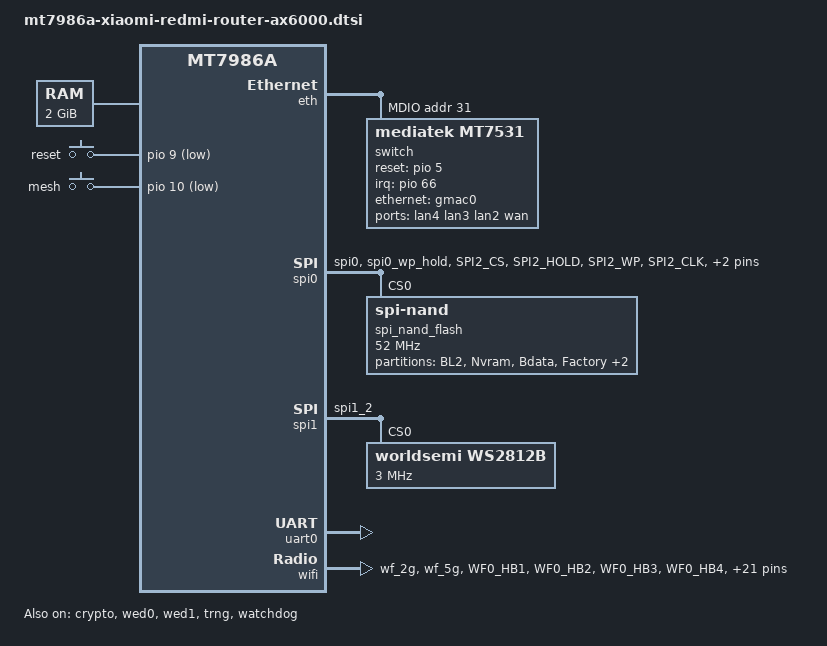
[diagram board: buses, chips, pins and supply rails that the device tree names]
// SPDX-License-Identifier: (GPL-2.0 OR MIT)

/dts-v1/;
#include <dt-bindings/input/input.h>
#include <dt-bindings/gpio/gpio.h>
#include <dt-bindings/leds/common.h>

#include "mt7986a.dtsi"

/ {
    aliases {
        serial0 = &uart0;
        led-boot = &led_status_rgb;
        led-failsafe = &led_status_rgb;
        led-running = &led_status_rgb;
        led-upgrade = &led_status_rgb;
    };

    chosen: chosen {
        stdout-path = "serial0:115200n8";
    };

    /* * [重型装甲 1]：2GB 三星 DDR4 物理寻址 
     * 0x80000000 即 2048MB
     */
    memory {
        reg = <0 0x40000000 0 0x80000000>;
    };

    /* * [重型装甲 2]：WED / Direct Data Path 专用影子内存 
     * 物理隔离 128MB 确保无线中继在高压下不丢包
     */
    reserved-memory {
        #address-cells = <2>;
        #size-cells = <2>;
        ranges;

        wed_cma_resv: wed_cma@48000000 {
            compatible = "shared-dma-pool";
            reusable;
            size = <0x00000000 0x08000000>; /* 128MB */
            alloc-ranges = <0x00000000 0x40000000 0x00000000 0x80000000>;
            linux,cma-default;
        };
    };

    keys {
        compatible = "gpio-keys";

        reset {
            label = "reset";
            gpios = <&pio 9 GPIO_ACTIVE_LOW>;
            linux,code = <KEY_RESTART>;
        };

        mesh {
            label = "mesh";
            gpios = <&pio 10 GPIO_ACTIVE_LOW>;
            linux,code = <BTN_9>;
            linux,input-type = <EV_SW>;
        };
    };
};

/* * [重型装甲 3]：2.2GHz 物理主频 OPP 表 
 * 配合你的紫铜片散热，这里将主频锁定在极限区间
 */
&cpu_opp_table {
    opp-2250000000 {
        opp-hz = /bits/ 64 <2250000000>;
        opp-microvolt = <1025000>; /* 联动加压至 1.025V 确保稳定性 */
        clock-latency-ns = <20000>;
    };
};

&crypto {
    status = "okay";
};

/* 开启硬件加速引擎绑定 CMA */
&wed0 {
    memory-region = <&wed_cma_resv>;
    status = "okay";
};

&wed1 {
    status = "okay";
};

&eth {
    status = "okay";

    gmac0: mac@0 {
        compatible = "mediatek,eth-mac";
        reg = <0>;
        phy-mode = "2500base-x";

        nvmem-cells = <&macaddr_factory_4 (-1)>;
        nvmem-cell-names = "mac-address";

        fixed-link {
            speed = <2500>;
            full-duplex;
            pause;
        };
    };

    mdio: mdio-bus {
        #address-cells = <1>;
        #size-cells = <0>;
    };
};

&mdio {
    switch: switch@1f {
        compatible = "mediatek,mt7531";
        reg = <31>;
        reset-gpios = <&pio 5 GPIO_ACTIVE_HIGH>;
        interrupt-controller;
        #interrupt-cells = <1>;
        interrupt-parent = <&pio>;
        interrupts = <66 IRQ_TYPE_LEVEL_HIGH>;
    };
};

&pio {
    spi_flash_pins: spi-flash-pins-33-to-38 {
        mux {
            function = "spi";
            groups = "spi0", "spi0_wp_hold";
        };
        conf-pu {
            pins = "SPI2_CS", "SPI2_HOLD", "SPI2_WP";
            drive-strength = <8>;
            mediatek,pull-up-adv = <0>; /* bias-disable */
        };
        conf-pd {
            pins = "SPI2_CLK", "SPI2_MOSI", "SPI2_MISO";
            drive-strength = <8>;
            mediatek,pull-down-adv = <0>; /* bias-disable */
        };
    };

    spi_led_pins: spic-pins-29-to-32 {
        mux {
            function = "spi";
            groups = "spi1_2";
        };
    };

    wf_2g_5g_pins: wf_2g_5g-pins {
        mux {
            function = "wifi";
            groups = "wf_2g", "wf_5g";
        };
        conf {
            pins = "WF0_HB1", "WF0_HB2", "WF0_HB3", "WF0_HB4",
                   "WF0_HB0", "WF0_HB0_B", "WF0_HB5", "WF0_HB6",
                   "WF0_HB7", "WF0_HB8", "WF0_HB9", "WF0_HB10",
                   "WF0_TOP_CLK", "WF0_TOP_DATA", "WF1_HB1",
                   "WF1_HB2", "WF1_HB3", "WF1_HB4", "WF1_HB0",
                   "WF1_HB5", "WF1_HB6", "WF1_HB7", "WF1_HB8",
                   "WF1_TOP_CLK", "WF1_TOP_DATA";
            drive-strength = <4>;
        };
    };
};

&spi0 {
    pinctrl-names = "default";
    pinctrl-0 = <&spi_flash_pins>;
    status = "okay";

    spi_nand_flash: flash@0 {
        compatible = "spi-nand";
        #address-cells = <1>;
        #size-cells = <1>;
        reg = <0>;

        spi-max-frequency = <52000000>; /* 提升 SPI 频率至 52MHz 对应 512M 高速 NAND */
        spi-tx-bus-width = <4>;
        spi-rx-bus-width = <4>;

        partitions: partitions {
            compatible = "fixed-partitions";
            #address-cells = <1>;
            #size-cells = <1>;

            partition@0 {
                label = "BL2";
                reg = <0x0 0x100000>;
                read-only;
            };

            partition@100000 {
                label = "Nvram";
                reg = <0x100000 0x40000>;
            };

            partition@140000 {
                label = "Bdata";
                reg = <0x140000 0x40000>;
            };

            factory: partition@180000 {
                label = "Factory";
                reg = <0x180000 0x200000>;
                read-only;

                nvmem-layout {
                    compatible = "fixed-layout";
                    #address-cells = <1>;
                    #size-cells = <1>;

                    macaddr_factory_4: macaddr@4 {
                        compatible = "mac-base";
                        reg = <0x4 0x6>;
                        #nvmem-cell-cells = <1>;
                    };
                };
            };

            partition@380000 {
                label = "FIP";
                reg = <0x380000 0x200000>;
                read-only;
            };

            /* * [重型装甲 4]：512MB NAND 主权释放 
             * UBI 分区占据剩余所有空间 (约 506MB)
             */
            partition@580000 {
                label = "ubi";
                reg = <0x580000 0x1fa80000>;
            };
        };
    };
};

&spi1 {
    pinctrl-names = "default";
    pinctrl-0 = <&spi_led_pins>;
    status = "okay";

    ws2812b@0 {
        #address-cells = <1>;
        #size-cells = <0>;
        compatible = "worldsemi,ws2812b";
        reg = <0>;
        spi-max-frequency = <3000000>;

        led_status_rgb: led@0 {
            reg = <0>;
            function = LED_FUNCTION_STATUS;
            color = <LED_COLOR_ID_RGB>;
            color-index = <LED_COLOR_ID_RED LED_COLOR_ID_GREEN LED_COLOR_ID_BLUE>;
            color-intensity = <0 255 0>;
        };

        led_network_rgb: led@1 {
            reg = <1>;
            function = "network";
            color = <LED_COLOR_ID_RGB>;
            color-index = <LED_COLOR_ID_RED LED_COLOR_ID_GREEN LED_COLOR_ID_BLUE>;
            color-intensity = <0 0 255>;
        };
    };
};

&switch {
    ports {
        #address-cells = <1>;
        #size-cells = <0>;

        port@1 {
            reg = <1>;
            label = "lan4";
        };

        port@2 {
            reg = <2>;
            label = "lan3";
        };

        port@3 {
            reg = <3>;
            label = "lan2";
        };

        port@4 {
            reg = <4>;
            label = "wan";
        };

        port@6 {
            reg = <6>;
            ethernet = <&gmac0>;
            phy-mode = "2500base-x";

            fixed-link {
                speed = <2500>;
                full-duplex;
                pause;
            };
        };
    };
};

&trng {
    status = "okay";
};

&uart0 {
    status = "okay";
};

&watchdog {
    status = "okay";
};

&wifi {
    status = "okay";
    pinctrl-names = "default";
    pinctrl-0 = <&wf_2g_5g_pins>;

    mediatek,mtd-eeprom = <&factory 0x0>;
};
